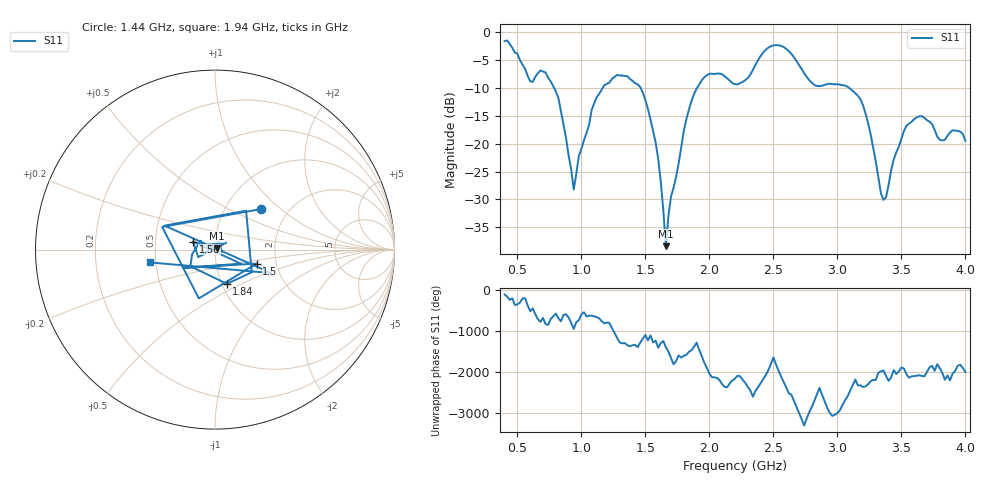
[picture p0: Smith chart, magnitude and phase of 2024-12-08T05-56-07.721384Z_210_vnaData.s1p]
!Created with skrf (http://scikit-rf.org).
# Hz S RI R 50.0
!freq ReS11 ImS11
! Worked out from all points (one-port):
!   181 points, 400 MHz to 4 GHz, reference 50 ohm
!   lowest |S11| = -38.4 dB at 1.66 GHz (marker M1), VSWR 1.02, Z = 51 + j0.715 ohm
!   |S11| at or under -10 dB: 786 MHz to 1.168 GHz (381.5 MHz wide, 39.1 % of centre); 1.462 GHz to 1.904 GHz (441.6 MHz wide, 26.2 % of centre); 3.09 GHz to end of sweep
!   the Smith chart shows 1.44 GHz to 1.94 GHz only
!   S11 on the Smith chart (normalised r, x): 1.44 GHz: 1.46, +0.74; 1.5 GHz: 1.58, -0.26; 1.56 GHz: 0.78, +0.07; 1.84 GHz: 1.06, -0.42; 1.94 GHz: 0.47, -0.08
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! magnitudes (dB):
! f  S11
! 400 MHz  -1.6
! 600 MHz  -8.8
! 720 MHz  -7.3
! 820 MHz  -11.8
! 860 MHz  -16.6
! 940 MHz  -28.2
! 980 MHz  -22.2
! 1.1 GHz  -12.8
! 1.3 GHz  -7.8
! 1.44 GHz  -9.4
! 1.5 GHz  -12.2
! 1.56 GHz  -17.7
! 1.62 GHz  -26.7
! 1.66 GHz  -38.4
! 1.7 GHz  -29.5
! 1.76 GHz  -23.5
! 1.84 GHz  -13.9
! 1.94 GHz  -8.7
! 2.2 GHz  -9.4
! 2.48 GHz  -2.6
! 2.66 GHz  -4.5
! 2.82 GHz  -9.5
! 3.1 GHz  -10.2
! 3.22 GHz  -14.6
! 3.36 GHz  -30.1
! 3.56 GHz  -16.4
! 3.66 GHz  -15.1
! 4 GHz  -19.5
